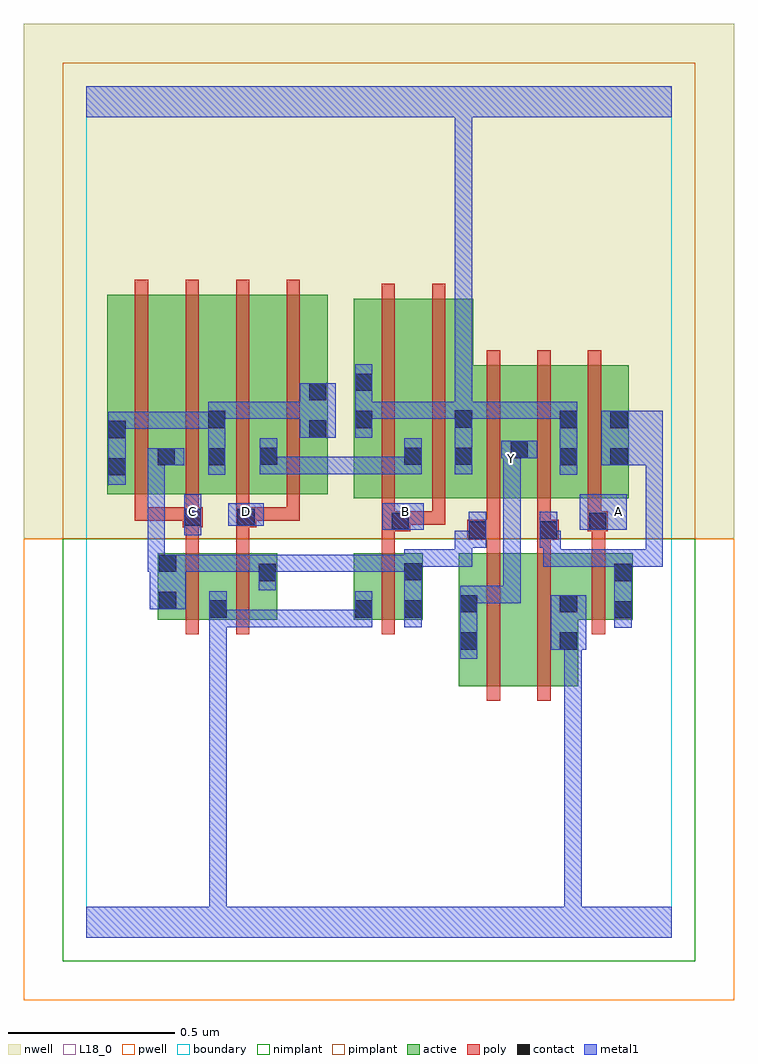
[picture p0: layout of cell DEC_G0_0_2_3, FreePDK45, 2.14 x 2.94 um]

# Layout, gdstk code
import gdstk
lib = gdstk.Library(unit=1e-6, precision=1e-09)
def R(c, l, rs):  # rectangles x0, y0, x1, y1
    for r in rs: c.add(gdstk.rectangle(r[:2], r[2:], *l))
def A(c, l, x, y, w, h, nx, ny, dx, dy):  # array of equal rectangles
    R(c, l, [(x+i*dx, y+j*dy, x+i*dx+w, y+j*dy+h) for i in range(nx) for j in range(ny)])
active = (1, 0)
pwell = (2, 0)
nwell = (3, 0)
nimplant = (4, 0)
pimplant = (5, 0)
poly = (9, 0)
contact = (10, 0)
metal1 = (11, 0)
L18_0 = (18, 0)
boundary = (235, 0)

dec_g0_0_2_3 = lib.new_cell('DEC_G0_0_2_3')
R(dec_g0_0_2_3, active, [(1.12,0.756,1.3,1.156), (1.12,0.756,1.18,1.156), (1.3,0.756,1.48,1.156), (1.42,0.862,1.48,1.062), (0.214,0.956,0.274,1.156), (0.214,0.956,0.426,1.156), (0.366,0.956,0.426,1.156), (0.366,0.956,0.574,1.156), (0.514,0.956,0.574,1.156), (0.804,0.956,0.864,1.156), (0.804,0.956,1.012,1.156), (0.952,0.956,1.012,1.156), (1.42,0.956,1.644,1.156), (1.584,0.956,1.644,1.156), (0.804,1.322,0.864,1.922), (0.804,1.322,1.012,1.922), (0.952,1.322,1.164,1.922), (1.104,1.322,1.332,1.722), (1.104,1.322,1.164,1.922), (1.272,1.322,1.332,1.722), (1.272,1.322,1.48,1.722), (1.42,1.322,1.632,1.722), (1.572,1.322,1.632,1.644), (0.062,1.334,0.27,1.934), (0.062,1.334,0.122,1.844), (0.21,1.334,0.27,1.934), (0.21,1.334,0.422,1.934), (0.362,1.334,0.578,1.934), (0.518,1.334,0.726,1.934), (0.666,1.334,0.726,1.844), (0.518,1.388,0.578,1.932), (1.42,1.408,1.48,1.722), (0.362,1.416,0.422,1.934), (0.952,1.418,1.012,1.844)])
R(dec_g0_0_2_3, pwell, [(-0.188,-0.188,1.948,1.2)])
R(dec_g0_0_2_3, nwell, [(-0.188,1.2,1.948,2.748)])
R(dec_g0_0_2_3, nimplant, [(-0.072,-0.072,1.832,1.2)])
R(dec_g0_0_2_3, pimplant, [(-0.072,1.2,1.832,2.632)])
A(dec_g0_0_2_3, poly, 0.146, 1.254, 0.04, 0.076, 4, 1, 0.152, 0)
A(dec_g0_0_2_3, poly, 1.204, 1.278, 0.04, 0.488, 3, 1, 0.152, 0)
A(dec_g0_0_2_3, poly, 0.146, 1.29, 0.04, 0.688, 4, 1, 0.152, 0)
R(dec_g0_0_2_3, poly, [(1.204,0.712,1.244,1.2), (1.356,0.712,1.396,1.2), (0.298,0.912,0.338,1.2), (0.45,0.912,0.49,1.2), (0.888,0.912,0.928,1.2), (1.52,0.912,1.56,1.2), (0.298,1.16,0.338,1.274), (0.45,1.16,0.49,1.274), (0.888,1.16,0.928,1.262), (1.204,1.16,1.244,1.236), (1.356,1.16,1.396,1.236), (1.52,1.16,1.56,1.262), (1.146,1.196,1.244,1.256), (1.356,1.196,1.42,1.256), (1.204,1.216,1.244,1.256), (1.204,1.216,1.244,1.256), (1.204,1.216,1.244,1.318), (1.356,1.216,1.396,1.256), (1.356,1.216,1.396,1.256), (1.356,1.216,1.396,1.318), (0.888,1.222,0.928,1.262), (0.888,1.222,0.928,1.262), (0.888,1.222,0.974,1.282), (1.508,1.222,1.568,1.282), (1.52,1.222,1.56,1.262), (1.52,1.222,1.56,1.262), (0.29,1.234,0.35,1.294), (0.298,1.234,0.338,1.274), (0.298,1.234,0.338,1.274), (0.45,1.234,0.51,1.294), (0.888,1.242,0.928,1.318), (0.934,1.242,1.08,1.282), (1.04,1.242,1.08,1.318), (1.04,1.242,1.08,1.282), (1.04,1.242,1.08,1.282), (1.04,1.242,1.08,1.282), (1.508,1.242,1.548,1.318), (0.146,1.254,0.186,1.294), (0.146,1.254,0.33,1.294), (0.29,1.254,0.33,1.294), (0.29,1.254,0.33,1.294), (0.45,1.254,0.49,1.294), (0.45,1.254,0.49,1.294), (0.45,1.254,0.642,1.294), (0.602,1.254,0.642,1.294), (0.602,1.254,0.642,1.294), (0.602,1.254,0.642,1.294), (0.888,1.278,0.928,1.966), (1.04,1.278,1.08,1.966)])
R(dec_g0_0_2_3, contact, [(1.124,0.866,1.176,0.918), (1.424,0.866,1.476,0.918), (1.588,0.96,1.64,1.012), (0.37,0.962,0.422,1.014), (0.808,0.962,0.86,1.014), (0.956,0.962,1.008,1.014), (1.124,0.978,1.176,1.03), (1.424,0.978,1.476,1.03), (0.218,0.988,0.27,1.04), (0.518,1.072,0.57,1.124), (1.588,1.072,1.64,1.124), (0.956,1.074,1.008,1.126), (0.218,1.1,0.27,1.152), (1.15,1.2,1.202,1.252), (1.364,1.2,1.416,1.252), (0.918,1.226,0.97,1.278), (1.512,1.226,1.564,1.278), (0.294,1.238,0.346,1.29), (0.454,1.238,0.506,1.29), (0.066,1.39,0.118,1.442), (0.214,1.42,0.266,1.472), (0.366,1.42,0.418,1.472), (1.424,1.42,1.476,1.472), (1.576,1.42,1.628,1.472), (0.522,1.422,0.574,1.474), (0.956,1.422,1.008,1.474), (1.108,1.422,1.16,1.474), (1.276,1.442,1.328,1.494), (0.066,1.502,0.118,1.554), (0.67,1.504,0.722,1.556), (0.366,1.532,0.418,1.584), (0.808,1.532,0.86,1.584), (1.424,1.532,1.476,1.584), (1.576,1.532,1.628,1.584), (1.108,1.534,1.16,1.586), (0.67,1.616,0.722,1.668), (0.808,1.644,0.86,1.696)])
R(dec_g0_0_2_3, metal1, [(0,0,1.76,0.092), (0.37,0.04,0.422,0.092), (0.37,0.04,0.422,0.092), (0.37,0.04,0.422,0.092), (0.37,0.04,0.422,0.092), (0.37,0.04,0.422,0.092), (0.37,0.04,0.422,0.092), (0.37,0.04,0.422,0.092), (0.37,0.04,0.422,0.092), (0.37,0.04,0.422,0.092), (0.37,0.04,0.422,0.092), (0.37,0.04,0.422,0.092), (0.37,0.04,0.422,0.092), (0.37,0.04,0.422,0.092), (0.37,0.04,0.422,0.092), (0.37,0.04,0.422,0.986), (1.438,0.04,1.49,0.092), (1.438,0.04,1.49,0.092), (1.438,0.04,1.49,0.092), (1.438,0.04,1.49,0.092), (1.438,0.04,1.49,0.092), (1.438,0.04,1.49,0.092), (1.438,0.04,1.49,0.092), (1.438,0.04,1.49,0.092), (1.438,0.04,1.49,0.918), (1.124,0.838,1.176,1.058), (1.396,0.866,1.504,1.03), (1.438,0.866,1.49,0.918), (1.438,0.866,1.49,0.918), (1.438,0.866,1.49,0.918), (1.438,0.866,1.49,0.918), (1.588,0.932,1.64,1.152), (0.37,0.934,0.422,0.986), (0.37,0.934,0.422,0.986), (0.37,0.934,0.422,0.986), (0.37,0.934,0.422,0.986), (0.37,0.934,0.422,1.042), (0.37,0.934,0.574,0.986), (0.522,0.934,0.574,0.986), (0.522,0.934,0.684,0.986), (0.632,0.934,0.684,0.986), (0.632,0.934,0.684,0.986), (0.632,0.934,0.684,0.986), (0.632,0.934,0.86,0.986), (0.808,0.934,0.86,1.042), (0.956,0.934,1.008,1.154), (0.19,0.988,0.298,1.152), (1.124,1.006,1.176,1.058), (1.124,1.006,1.176,1.058), (1.124,1.006,1.306,1.058), (1.254,1.006,1.306,1.058), (1.254,1.006,1.306,1.438), (0.518,1.044,0.57,1.152), (0.184,1.1,0.236,1.152), (0.184,1.1,0.236,1.152), (0.184,1.1,0.236,1.472), (0.184,1.1,0.242,1.152), (0.19,1.1,0.242,1.152), (0.246,1.1,0.298,1.152), (0.246,1.1,0.298,1.152), (0.246,1.1,0.408,1.152), (0.356,1.1,0.408,1.152), (0.356,1.1,0.408,1.152), (0.356,1.1,0.408,1.152), (0.356,1.1,0.57,1.152), (0.518,1.1,0.684,1.152), (0.632,1.1,0.684,1.152), (0.632,1.1,0.684,1.152), (0.632,1.1,0.684,1.152), (0.632,1.1,0.794,1.152), (0.742,1.1,0.794,1.152), (0.742,1.1,0.794,1.152), (0.742,1.1,0.794,1.152), (0.742,1.1,1.008,1.152), (1.588,1.1,1.64,1.168), (0.956,1.102,1.008,1.168), (0.956,1.116,1.008,1.168), (0.956,1.116,1.008,1.168), (0.956,1.116,1.008,1.168), (0.956,1.116,1.16,1.168), (1.108,1.116,1.16,1.224), (1.374,1.116,1.64,1.168), (1.374,1.116,1.426,1.224), (1.588,1.116,1.64,1.168), (1.588,1.116,1.64,1.168), (1.588,1.116,1.734,1.168), (1.682,1.116,1.734,1.472), (1.108,1.172,1.202,1.224), (1.15,1.172,1.202,1.28), (1.364,1.172,1.426,1.224), (1.364,1.172,1.416,1.28), (0.294,1.21,0.346,1.334), (0.89,1.226,1.014,1.306), (1.484,1.226,1.626,1.334), (0.426,1.238,0.534,1.306), (0.066,1.362,0.118,1.582), (1.254,1.386,1.306,1.494), (0.366,1.392,0.418,1.612), (1.424,1.392,1.476,1.612), (0.522,1.394,0.574,1.446), (0.522,1.394,0.574,1.446), (0.522,1.394,0.574,1.502), (0.522,1.394,0.684,1.446), (0.632,1.394,0.684,1.446), (0.632,1.394,0.898,1.446), (0.846,1.394,0.898,1.446), (0.846,1.394,0.898,1.446), (0.846,1.394,0.898,1.446), (0.846,1.394,1.008,1.446), (0.956,1.394,1.008,1.502), (1.108,1.394,1.16,1.614), (0.184,1.42,0.294,1.472), (1.548,1.42,1.734,1.584), (1.682,1.42,1.734,1.472), (1.682,1.42,1.734,1.472), (1.248,1.442,1.356,1.494), (1.254,1.442,1.306,1.494), (1.254,1.442,1.306,1.494), (1.254,1.442,1.306,1.494), (0.642,1.504,0.75,1.668), (0.808,1.504,0.86,1.724), (0.066,1.53,0.118,1.582), (0.066,1.53,0.118,1.582), (0.066,1.53,0.298,1.582), (0.246,1.53,0.298,1.582), (0.246,1.53,0.298,1.582), (0.246,1.53,0.298,1.582), (0.246,1.53,0.418,1.582), (0.366,1.56,0.418,1.612), (0.366,1.56,0.418,1.612), (0.366,1.56,0.574,1.612), (0.522,1.56,0.574,1.612), (0.522,1.56,0.574,1.612), (0.522,1.56,0.574,1.612), (0.522,1.56,0.694,1.612), (0.808,1.56,0.86,1.612), (0.808,1.56,0.86,1.612), (0.808,1.56,1.05,1.612), (0.998,1.56,1.05,1.612), (0.998,1.56,1.05,1.612), (0.998,1.56,1.05,1.612), (0.998,1.56,1.16,1.612), (1.108,1.56,1.16,1.612), (1.108,1.56,1.16,1.612), (1.108,1.56,1.316,1.612), (1.264,1.56,1.316,1.612), (1.264,1.56,1.316,1.612), (1.264,1.56,1.316,1.612), (1.264,1.56,1.316,1.612), (1.264,1.56,1.316,1.612), (1.264,1.56,1.316,1.612), (1.264,1.56,1.316,1.612), (1.264,1.56,1.476,1.612), (1.108,1.562,1.16,1.614), (1.108,1.562,1.16,1.614), (1.108,1.562,1.16,2.52), (0,2.468,1.76,2.56), (1.108,2.468,1.16,2.52), (1.108,2.468,1.16,2.52), (1.108,2.468,1.16,2.52), (1.108,2.468,1.16,2.52), (1.108,2.468,1.16,2.52), (1.108,2.468,1.16,2.52), (1.108,2.468,1.16,2.52), (1.108,2.468,1.16,2.52), (1.108,2.468,1.16,2.52), (1.108,2.468,1.16,2.52)])
R(dec_g0_0_2_3, L18_0, [(0,0,1.76,0.092), (0.37,0.04,0.422,0.092), (0.37,0.04,0.422,0.092), (0.37,0.04,0.422,0.092), (0.37,0.04,0.422,0.092), (0.37,0.04,0.422,0.092), (0.37,0.04,0.422,0.092), (0.37,0.04,0.422,0.092), (0.37,0.04,0.422,0.092), (0.37,0.04,0.422,0.092), (0.37,0.04,0.422,0.092), (0.37,0.04,0.422,0.092), (0.37,0.04,0.422,0.092), (0.37,0.04,0.422,0.092), (0.37,0.04,0.422,0.092), (0.37,0.04,0.422,0.986), (1.438,0.04,1.49,0.092), (1.438,0.04,1.49,0.092), (1.438,0.04,1.49,0.092), (1.438,0.04,1.49,0.092), (1.438,0.04,1.49,0.092), (1.438,0.04,1.49,0.092), (1.438,0.04,1.49,0.092), (1.438,0.04,1.49,0.092), (1.438,0.04,1.49,0.918), (1.124,0.838,1.176,1.058), (1.396,0.866,1.504,1.03), (1.438,0.866,1.49,0.918), (1.438,0.866,1.49,0.918), (1.438,0.866,1.49,0.918), (1.438,0.866,1.49,0.918), (0.37,0.934,0.422,0.986), (0.37,0.934,0.422,0.986), (0.37,0.934,0.422,0.986), (0.37,0.934,0.422,0.986), (0.37,0.934,0.422,1.042), (0.37,0.934,0.574,0.986), (0.522,0.934,0.574,0.986), (0.522,0.934,0.684,0.986), (0.632,0.934,0.684,0.986), (0.632,0.934,0.684,0.986), (0.632,0.934,0.684,0.986), (0.632,0.934,0.86,0.986), (0.808,0.934,0.86,1.042), (1.124,1.006,1.176,1.058), (1.124,1.006,1.176,1.058), (1.124,1.006,1.306,1.058), (1.254,1.006,1.306,1.058), (1.254,1.006,1.306,1.438), (0.294,1.21,0.346,1.334), (0.89,1.226,1.014,1.306), (1.484,1.226,1.626,1.334), (0.426,1.238,0.534,1.306), (0.294,1.254,0.346,1.306), (0.454,1.254,0.506,1.306), (0.934,1.254,0.986,1.306), (1.574,1.254,1.626,1.306), (1.254,1.386,1.306,1.494), (1.424,1.392,1.476,1.612), (1.108,1.394,1.16,1.614), (1.254,1.414,1.306,1.466), (1.248,1.442,1.356,1.494), (1.254,1.442,1.306,1.494), (1.254,1.442,1.306,1.494), (1.254,1.442,1.306,1.494), (0.808,1.504,0.86,1.724), (0.808,1.56,0.86,1.612), (0.808,1.56,0.86,1.612), (0.808,1.56,1.05,1.612), (0.998,1.56,1.05,1.612), (0.998,1.56,1.05,1.612), (0.998,1.56,1.05,1.612), (0.998,1.56,1.16,1.612), (1.108,1.56,1.16,1.612), (1.108,1.56,1.16,1.612), (1.108,1.56,1.316,1.612), (1.264,1.56,1.316,1.612), (1.264,1.56,1.316,1.612), (1.264,1.56,1.316,1.612), (1.264,1.56,1.316,1.612), (1.264,1.56,1.316,1.612), (1.264,1.56,1.316,1.612), (1.264,1.56,1.316,1.612), (1.264,1.56,1.476,1.612), (1.108,1.562,1.16,1.614), (1.108,1.562,1.16,1.614), (1.108,1.562,1.16,2.52), (0,2.468,1.76,2.56), (1.108,2.468,1.16,2.52), (1.108,2.468,1.16,2.52), (1.108,2.468,1.16,2.52), (1.108,2.468,1.16,2.52), (1.108,2.468,1.16,2.52), (1.108,2.468,1.16,2.52), (1.108,2.468,1.16,2.52), (1.108,2.468,1.16,2.52), (1.108,2.468,1.16,2.52), (1.108,2.468,1.16,2.52)])
R(dec_g0_0_2_3, boundary, [(0,0,1.76,2.56)])
dec_g0_0_2_3.add(gdstk.Label('A', (1.6,1.28), layer=11, texttype=0))
dec_g0_0_2_3.add(gdstk.Label('B', (0.96,1.28), layer=11, texttype=0))
dec_g0_0_2_3.add(gdstk.Label('C', (0.32,1.28), layer=11, texttype=0))
dec_g0_0_2_3.add(gdstk.Label('D', (0.48,1.28), layer=11, texttype=0))
dec_g0_0_2_3.add(gdstk.Label('Y', (1.28,1.44), layer=11, texttype=0))

lib.write_gds('DEC_G0_0_2_3.gds')
